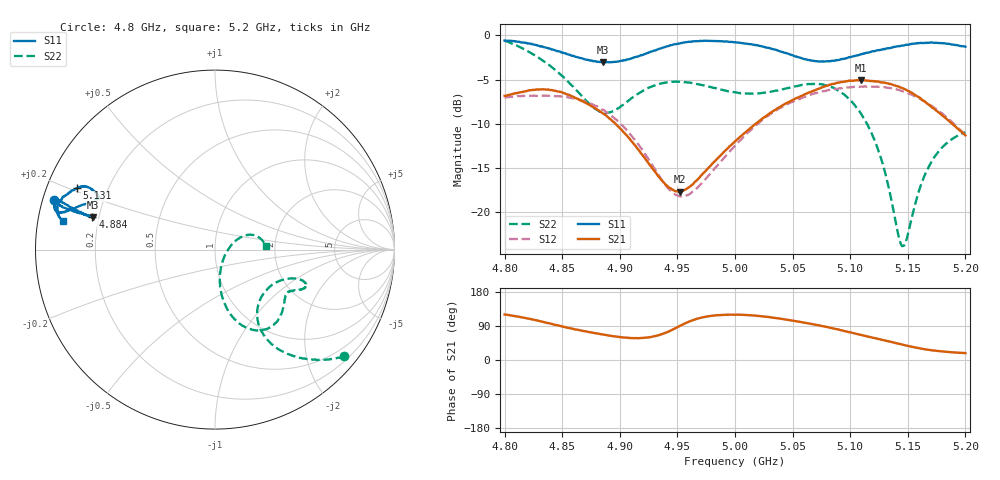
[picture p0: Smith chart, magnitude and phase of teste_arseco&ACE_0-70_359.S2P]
! Network Analyzer HP8722D
! Hewlett-Packard
! Data name: Linha & Wilkinson
! Saver's name: Rodrigo Anjos
! Comments: Teste da utilização de aquisição
! continua pelo VNA HP8722D
! Time and date: 8/5/2025 15:45
!  Frequency  S11  S21  S12  S22
# HZ  S  MA R 50
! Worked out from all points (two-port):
!   401 points, 4.8 GHz to 5.2 GHz, reference 50 ohm
!   highest |S21| = -5.06 dB at 5.109 GHz (marker M1); lowest = -17.7 dB at 4.952 GHz (marker M2)
!   |S21| within 3 dB of the highest: start of sweep to 4.876 GHz; 5.039 GHz to 5.17 GHz (130.6 MHz wide, 2.56 % of centre)
!   lowest |S11| = -3.0 dB at 4.885 GHz (marker M3), VSWR 5.76, Z = 8.83 + j6.39 ohm
!   |S11| at or under -10 dB: nowhere
!   |S22| runs from -23.9 to -0.6 dB; largest |S21 - S12| = 0.73
!   S11 on the Smith chart (normalised r, x): 4.8 GHz: 0.03, +0.15; 4.884 GHz: 0.17, +0.13; 5.131 GHz: 0.09, +0.21; 5.2 GHz: 0.07, +0.09
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4.8e9  0.937 162.9  0.4547 120.0  0.4457 15.5  0.9325 -39.6
4.834e9  0.8586 164.5  0.4946 100.2  0.4573 4.6  0.714 -54.8
4.867e9  0.7428 165.0  0.4255 77.3  0.4281 -10.1  0.4542 -58.6
4.884e9  0.7064 165.1  0.3669 68.0  0.3824 -19.9  0.3675 -44.5
4.885e9  0.704 165.0  0.3624 67.5  0.379 -20.5  0.3663 -43.4
4.906e9  0.7309 165.1  0.2714 58.9  0.2908 -31.1  0.4193 -23.3
4.934e9  0.8408 163.7  0.1577 65.5  0.1609 -29.4  0.5305 -19.9
4.952e9  0.9029 162.6  0.13 89.4  0.1225 -4.7  0.5464 -22.3
4.966e9  0.9281 162.8  0.1492 107.9  0.1347 16.9  0.5334 -24.5
5e9  0.9152 166.1  0.2504 119.4  0.2376 37.5  0.4756 -29.3
5.033e9  0.8362 164.7  0.3728 111.8  0.3663 32.5  0.4827 -36.7
5.067e9  0.7196 157.6  0.4828 95.0  0.4652 17.4  0.5313 -51.8
5.087e9  0.7209 155.0  0.5343 82.1  0.4971 5.8  0.4982 -64.1
5.109e9  0.7827 153.8  0.5587 66.5  0.5129 -7.7  0.3638 -76.9
5.121e9  0.8132 154.3  0.5483 57.9  0.512 -15.1  0.2569 -81.7
5.131e9  0.8432 156.1  0.5383 50.8  0.5081 -21.8  0.1605 -80.5
5.134e9  0.8471 156.5  0.5307 48.8  0.5042 -23.7  0.1324 -77.4
5.142e9  0.868 158.2  0.5143 42.9  0.4921 -29.2  0.07289 -52.1
5.146e9  0.878 159.3  0.5013 40.2  0.4809 -31.6  0.06409 -24.1
5.161e9  0.9077 162.7  0.4409 30.5  0.4365 -40.7  0.1398 24.7
5.17e9  0.9113 164.5  0.3963 26.0  0.4011 -45.4  0.1895 24.9
5.2e9  0.863 169.2  0.2713 18.2  0.2715 -54.1  0.2831 4.3
